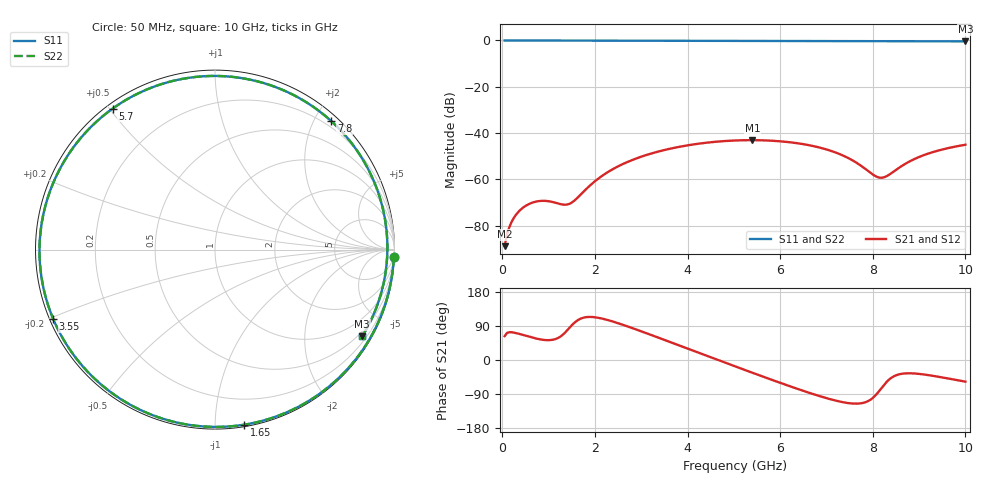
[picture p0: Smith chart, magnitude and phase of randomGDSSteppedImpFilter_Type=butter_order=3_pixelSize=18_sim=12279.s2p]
! freq	dB(S11)	phase(S11)	dB(S12)	phase(S12)
!  dB(S21)	phase(S21)	dB(S22)	phase(S22)
!S-par simulation data
#  GHz  S  DB  R 50
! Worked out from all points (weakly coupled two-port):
!   200 points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, 50 MHz to 10 GHz, reference 50 ohm
!   highest |S21| = -43.04 dB at 5.4 GHz (marker M1); lowest = -88.8 dB at 50 MHz (marker M2)
!   lowest |S11| = -0.4 dB at 10 GHz (marker M3), VSWR 40.28, Z = 17.8 - j182 ohm
!   |S11| at or under -10 dB: nowhere
!   |S22| runs from -0.4 to 0.0 dB; largest |S21 - S12| = 0
!   S11 on the Smith chart (normalised r, x): 50 MHz: 2, -46; 1.65 GHz: 0.01, -1.18; 3.55 GHz: 0.01, -0.21; 5.7 GHz: 0.02, +0.51; 7.8 GHz: 0.11, +2.25; 10 GHz: 0.36, -3.64
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0.05  -0.02 -2.5  -88.79 62.9  -88.79 62.9  -0.02 -2.5
0.15  -0.03 -7.6  -80.69 73.2  -80.69 73.2  -0.03 -7.6
0.35  -0.03 -17.9  -73.94 69.5  -73.94 69.5  -0.03 -17.9
0.6  -0.04 -30.5  -70.39 60.7  -70.39 60.7  -0.04 -30.5
0.9  -0.06 -45.3  -69.22 53.0  -69.22 53.0  -0.06 -45.3
1.4  -0.08 -69.1  -70.83 78.0  -70.83 78.0  -0.08 -69.1
1.65  -0.10 -80.5  -67.39 106.6  -67.39 106.6  -0.10 -80.5
1.75  -0.10 -84.9  -65.36 111.6  -65.36 111.6  -0.10 -84.9
2.45  -0.13 -114.6  -54.86 99.1  -54.86 99.1  -0.13 -114.6
3.4  -0.16 -151.3  -47.80 57.7  -47.80 57.7  -0.16 -151.3
3.55  -0.17 -156.8  -47.06 50.8  -47.06 50.8  -0.17 -156.8
4.3  -0.20 176.1  -44.41 16.4  -44.41 16.4  -0.20 176.1
5.05  -0.23 149.4  -43.17 -17.8  -43.17 -17.8  -0.23 149.5
5.4  -0.25 136.9  -43.04 -33.6  -43.04 -33.6  -0.25 136.9
5.7  -0.26 126.0  -43.17 -47.0  -43.17 -47.0  -0.26 126.1
6.7  -0.29 89.2  -45.53 -89.5  -45.53 -89.5  -0.29 89.3
7.3  -0.30 66.6  -49.18 -110.0  -49.18 -110.0  -0.30 66.7
7.8  -0.31 47.8  -54.86 -112.9  -54.86 -112.9  -0.31 47.9
8.1  -0.31 36.5  -58.97 -87.7  -58.97 -87.7  -0.31 36.6
8.35  -0.32 27.3  -58.00 -51.8  -58.00 -51.8  -0.32 27.4
9.05  -0.35 1.9  -49.90 -37.4  -49.90 -37.4  -0.35 2.0
10  -0.43 -30.5  -45.01 -57.1  -45.01 -57.1  -0.43 -30.4
